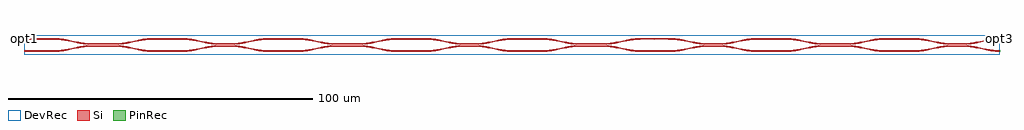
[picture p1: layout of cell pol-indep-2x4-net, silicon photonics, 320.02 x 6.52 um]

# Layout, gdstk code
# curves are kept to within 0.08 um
import gdstk
lib = gdstk.Library(unit=1e-6, precision=1e-09)
def R(c, l, rs):  # rectangles x0, y0, x1, y1
    for r in rs: c.add(gdstk.rectangle(r[:2], r[2:], *l))
def P(c, l, *ps):  # polygons
    for p in ps: c.add(gdstk.Polygon(p, *l))
Si = (1, 0)
PinRec = (1, 10)
DevRec = (68, 0)

layer_0_0_phase_sec_0 = lib.new_cell('layer-0_0_phase_sec_0')
P(layer_0_0_phase_sec_0, Si, [(3.067,-0.243),(0,-0.225),(0,0.225),(10,0.225),(10,-0.225)])

layer_0_0_phase_sec_1 = lib.new_cell('layer-0_0_phase_sec_1')
P(layer_0_0_phase_sec_1, Si, [(6.136,-0.235),(0,-0.225),(0,0.225),(10,0.225),(10,-0.225)])

dc_arm_up_8 = lib.new_cell('dc_arm_up_8')
R(dc_arm_up_8, Si, [(12,0.1,20,0.55)])
P(dc_arm_up_8, Si, [(12,0.1),(10.861,0.137),(9.344,0.292),(2.966,1.532),(1.481,1.712),(0,1.775),(0,2.225),(1.139,2.188),(2.656,2.033),(9.034,0.793),(10.519,0.613),(12,0.55)],
  [(20,0.1),(20,0.55),(21.481,0.613),(22.966,0.793),(29.344,2.033),(30.861,2.188),(32,2.225),(32,1.775),(30.519,1.712),(29.034,1.532),(22.656,0.292),(21.139,0.137)])

dc_arm_down_8 = lib.new_cell('dc_arm_down_8')
R(dc_arm_down_8, Si, [(12,-0.55,20,-0.1)])
P(dc_arm_down_8, Si, [(0,-2.225),(0,-1.775),(1.481,-1.712),(2.966,-1.532),(9.344,-0.292),(10.861,-0.137),(12,-0.1),(12,-0.55),(10.519,-0.613),(9.034,-0.793),(2.656,-2.033),(1.139,-2.188)],
  [(32,-2.225),(30.861,-2.188),(29.344,-2.033),(22.966,-0.793),(21.481,-0.613),(20,-0.55),(20,-0.1),(21.139,-0.137),(22.656,-0.292),(29.034,-1.532),(30.519,-1.712),(32,-1.775)])

dc_8 = lib.new_cell('dc_8')
dc_8.add(gdstk.Reference(dc_arm_up_8, (0,0)))
dc_8.add(gdstk.Reference(dc_arm_down_8, (0,0)))

layer_0_0_phase_sec_2 = lib.new_cell('layer-0_0_phase_sec_2')
P(layer_0_0_phase_sec_2, Si, [(6.163,-0.245),(0,-0.225),(0,0.225),(10,0.225),(10,-0.225)])

layer_0_0_phase_sec_3 = lib.new_cell('layer-0_0_phase_sec_3')
P(layer_0_0_phase_sec_3, Si, [(0,-0.225),(0,0.225),(10,0.225),(10,-0.225)])

dc_arm_up_4 = lib.new_cell('dc_arm_up_4')
R(dc_arm_up_4, Si, [(12,0.1,16,0.55)])
P(dc_arm_up_4, Si, [(12,0.1),(10.861,0.137),(9.344,0.292),(2.966,1.532),(1.481,1.712),(0,1.775),(0,2.225),(1.139,2.188),(2.656,2.033),(9.034,0.793),(10.519,0.613),(12,0.55)],
  [(16,0.1),(16,0.55),(17.481,0.613),(18.966,0.793),(25.344,2.033),(26.861,2.188),(28,2.225),(28,1.775),(26.519,1.712),(25.034,1.532),(18.656,0.292),(17.139,0.137)])

dc_arm_down_4 = lib.new_cell('dc_arm_down_4')
R(dc_arm_down_4, Si, [(12,-0.55,16,-0.1)])
P(dc_arm_down_4, Si, [(0,-2.225),(0,-1.775),(1.481,-1.712),(2.966,-1.532),(9.344,-0.292),(10.861,-0.137),(12,-0.1),(12,-0.55),(10.519,-0.613),(9.034,-0.793),(2.656,-2.033),(1.139,-2.188)],
  [(28,-2.225),(26.861,-2.188),(25.344,-2.033),(18.966,-0.793),(17.481,-0.613),(16,-0.55),(16,-0.1),(17.139,-0.137),(18.656,-0.292),(25.034,-1.532),(26.519,-1.712),(28,-1.775)])

dc_4 = lib.new_cell('dc_4')
dc_4.add(gdstk.Reference(dc_arm_up_4, (0,0)))
dc_4.add(gdstk.Reference(dc_arm_down_4, (0,0)))

layer_1_0_phase_sec_0 = lib.new_cell('layer-1_0_phase_sec_0')
P(layer_1_0_phase_sec_0, Si, [(6.173,-0.254),(0,-0.225),(0,0.225),(10,0.225),(10,-0.225)])

layer_1_0_phase_sec_1 = lib.new_cell('layer-1_0_phase_sec_1')
P(layer_1_0_phase_sec_1, Si, [(0,-0.225),(0,0.225),(10,0.225),(10,-0.225)])

layer_1_0_phase_sec_2 = lib.new_cell('layer-1_0_phase_sec_2')
P(layer_1_0_phase_sec_2, Si, [(1.541,-0.242),(0,-0.225),(0,0.225),(10,0.225),(10,-0.225)])

layer_1_0_phase_sec_3 = lib.new_cell('layer-1_0_phase_sec_3')
P(layer_1_0_phase_sec_3, Si, [(0,-0.225),(0,0.225),(10,0.225),(10,-0.225)])

layer_2_0_phase_sec_0 = lib.new_cell('layer-2_0_phase_sec_0')
P(layer_2_0_phase_sec_0, Si, [(1.545,-0.257),(0,-0.225),(0,0.225),(10,0.225),(10,-0.225)])

layer_2_0_phase_sec_1 = lib.new_cell('layer-2_0_phase_sec_1')
P(layer_2_0_phase_sec_1, Si, [(0,-0.225),(0,0.225),(10,0.225),(10,-0.225)])

layer_2_0_phase_sec_2 = lib.new_cell('layer-2_0_phase_sec_2')
P(layer_2_0_phase_sec_2, Si, [(0,-0.225),(0,0.225),(10,0.225),(10,-0.225)])

layer_2_0_phase_sec_3 = lib.new_cell('layer-2_0_phase_sec_3')
P(layer_2_0_phase_sec_3, Si, [(1.547,-0.261),(0,-0.225),(0,0.225),(10,0.225),(10,-0.225)])

layer_3_0_phase_sec_0 = lib.new_cell('layer-3_0_phase_sec_0')
P(layer_3_0_phase_sec_0, Si, [(7.672,-0.234),(0,-0.225),(0,0.225),(10,0.225),(10,-0.225)])

layer_3_0_phase_sec_1 = lib.new_cell('layer-3_0_phase_sec_1')
P(layer_3_0_phase_sec_1, Si, [(4.607,-0.234),(0,-0.225),(0,0.225),(10,0.225),(10,-0.225)])

layer_3_0_phase_sec_2 = lib.new_cell('layer-3_0_phase_sec_2')
P(layer_3_0_phase_sec_2, Si, [(0,-0.225),(0,0.225),(10,0.225),(10,-0.225)])

layer_3_0_phase_sec_3 = lib.new_cell('layer-3_0_phase_sec_3')
P(layer_3_0_phase_sec_3, Si, [(7.707,-0.242),(0,-0.225),(0,0.225),(10,0.225),(10,-0.225)])

pol_indep_2x4_net = lib.new_cell('pol-indep-2x4-net')
R(pol_indep_2x4_net, DevRec, [(0,-1,320,5.518)])
pol_indep_2x4_net.add(gdstk.FlexPath([(0.01,4.261),(-0.01,4.261)], 0.45, ends="flush", simple_path=True, layer=1, datatype=10))  # PinRec
pol_indep_2x4_net.add(gdstk.FlexPath([(319.99,4.261),(320.01,4.261)], 0.45, ends="flush", simple_path=True, layer=1, datatype=10))  # PinRec
pol_indep_2x4_net.add(gdstk.FlexPath([(319.99,0.261),(320.01,0.261)], 0.45, ends="flush", simple_path=True, layer=1, datatype=10))  # PinRec
pol_indep_2x4_net.add(gdstk.Reference(layer_0_0_phase_sec_0, (0,4.261)))
pol_indep_2x4_net.add(gdstk.Reference(layer_0_0_phase_sec_1, (0,0.261)))
pol_indep_2x4_net.add(gdstk.Reference(dc_8, (10,2.261)))
pol_indep_2x4_net.add(gdstk.Reference(layer_0_0_phase_sec_2, (42,4.261)))
pol_indep_2x4_net.add(gdstk.Reference(layer_0_0_phase_sec_3, (42,0.261)))
pol_indep_2x4_net.add(gdstk.Reference(dc_4, (52,2.261)))
pol_indep_2x4_net.add(gdstk.Reference(layer_1_0_phase_sec_0, (80,4.261)))
pol_indep_2x4_net.add(gdstk.Reference(layer_1_0_phase_sec_1, (80,0.261)))
pol_indep_2x4_net.add(gdstk.Reference(dc_8, (90,2.261)))
pol_indep_2x4_net.add(gdstk.Reference(layer_1_0_phase_sec_2, (122,4.261)))
pol_indep_2x4_net.add(gdstk.Reference(layer_1_0_phase_sec_3, (122,0.261)))
pol_indep_2x4_net.add(gdstk.Reference(dc_4, (132,2.261)))
pol_indep_2x4_net.add(gdstk.Reference(layer_2_0_phase_sec_0, (160,4.261)))
pol_indep_2x4_net.add(gdstk.Reference(layer_2_0_phase_sec_1, (160,0.261)))
pol_indep_2x4_net.add(gdstk.Reference(dc_8, (170,2.261)))
pol_indep_2x4_net.add(gdstk.Reference(layer_2_0_phase_sec_2, (202,4.261)))
pol_indep_2x4_net.add(gdstk.Reference(layer_2_0_phase_sec_3, (202,0.261)))
pol_indep_2x4_net.add(gdstk.Reference(dc_4, (212,2.261)))
pol_indep_2x4_net.add(gdstk.Reference(layer_3_0_phase_sec_0, (240,4.261)))
pol_indep_2x4_net.add(gdstk.Reference(layer_3_0_phase_sec_1, (240,0.261)))
pol_indep_2x4_net.add(gdstk.Reference(dc_8, (250,2.261)))
pol_indep_2x4_net.add(gdstk.Reference(layer_3_0_phase_sec_2, (282,4.261)))
pol_indep_2x4_net.add(gdstk.Reference(layer_3_0_phase_sec_3, (282,0.261)))
pol_indep_2x4_net.add(gdstk.Reference(dc_4, (292,2.261)))
pol_indep_2x4_net.add(gdstk.Label('opt1', (0,4.261), layer=1, texttype=10))
pol_indep_2x4_net.add(gdstk.Label('opt3', (320,4.261), layer=1, texttype=10))
pol_indep_2x4_net.add(gdstk.Label('opt4', (320,0.261), layer=1, texttype=10))

lib.write_gds('pol-indep-2x4-net.gds')
